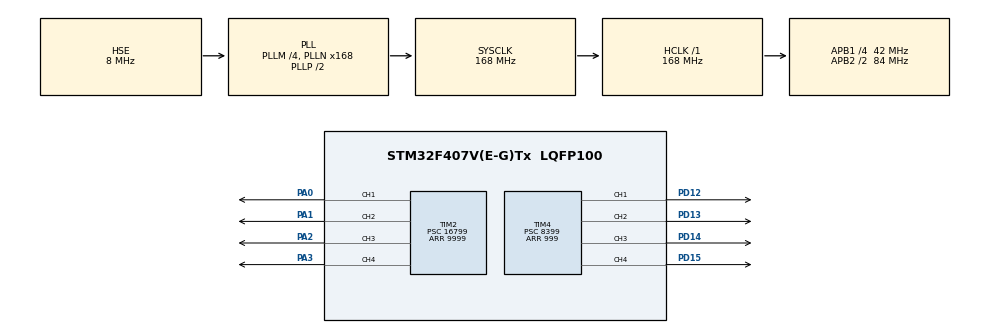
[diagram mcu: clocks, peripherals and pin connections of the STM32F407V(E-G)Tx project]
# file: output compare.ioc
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Mcu.Family=STM32F4
Mcu.Name=STM32F407V(E-G)Tx
Mcu.Package=LQFP100
NVIC.PriorityGroup=NVIC_PRIORITYGROUP_0
NVIC.TIM2_IRQn=true\:0\:0\:false\:false\:true\:true\:true\:true
PA0-WKUP.Signal=S_TIM2_CH1_ETR
PA1.Signal=S_TIM2_CH2
PA13.Mode=Serial_Wire
PA13.Signal=SYS_JTMS-SWDIO
PA14.Mode=Serial_Wire
PA14.Signal=SYS_JTCK-SWCLK
PA2.Signal=S_TIM2_CH3
PA3.Signal=S_TIM2_CH4
PD12.Signal=S_TIM4_CH1
PD13.Signal=S_TIM4_CH2
PD14.Signal=S_TIM4_CH3
PD15.Signal=S_TIM4_CH4
PH0-OSC_IN.Mode=HSE-External-Oscillator
PH0-OSC_IN.Signal=RCC_OSC_IN
PH1-OSC_OUT.Mode=HSE-External-Oscillator
PH1-OSC_OUT.Signal=RCC_OSC_OUT
ProjectManager.HeapSize=0x200
ProjectManager.StackSize=0x400
ProjectManager.TargetToolchain=STM32CubeIDE
RCC.48MHZClocksFreq_Value=48000000
RCC.AHBFreq_Value=168000000
RCC.APB1CLKDivider=RCC_HCLK_DIV4
RCC.APB1Freq_Value=42000000
RCC.APB1TimFreq_Value=84000000
RCC.APB2CLKDivider=RCC_HCLK_DIV2
RCC.APB2Freq_Value=84000000
RCC.APB2TimFreq_Value=168000000
RCC.CortexFreq_Value=168000000
RCC.HCLKFreq_Value=168000000
RCC.HSE_VALUE=8000000
RCC.HSI_VALUE=16000000
RCC.LSE_VALUE=32768
RCC.PLLM=4
RCC.PLLN=168
RCC.PLLQ=7
RCC.PLLSourceVirtual=RCC_PLLSOURCE_HSE
RCC.SYSCLKFreq_VALUE=168000000
RCC.SYSCLKSource=RCC_SYSCLKSOURCE_PLLCLK
RCC.VCOOutputFreq_Value=336000000
SH.S_TIM2_CH1_ETR.0=TIM2_CH1,Output Compare1 CH1
SH.S_TIM2_CH2.0=TIM2_CH2,Output Compare2 CH2
SH.S_TIM2_CH3.0=TIM2_CH3,Output Compare3 CH3
SH.S_TIM2_CH4.0=TIM2_CH4,Output Compare4 CH4
SH.S_TIM4_CH1.0=TIM4_CH1,Output Compare1 CH1
SH.S_TIM4_CH2.0=TIM4_CH2,Output Compare2 CH2
SH.S_TIM4_CH3.0=TIM4_CH3,Output Compare3 CH3
SH.S_TIM4_CH4.0=TIM4_CH4,Output Compare4 CH4
TIM2.Channel-Output\ Compare1\ CH1=TIM_CHANNEL_1
TIM2.Channel-Output\ Compare2\ CH2=TIM_CHANNEL_2
TIM2.Channel-Output\ Compare3\ CH3=TIM_CHANNEL_3
TIM2.Channel-Output\ Compare4\ CH4=TIM_CHANNEL_4
TIM2.OCMode_1=TIM_OCMODE_TOGGLE
TIM2.OCMode_2=TIM_OCMODE_TOGGLE
TIM2.OCMode_3=TIM_OCMODE_TOGGLE
TIM2.OCMode_4=TIM_OCMODE_TOGGLE
TIM2.Period=9999
TIM2.Prescaler=16799
TIM2.Pulse-Output\ Compare1\ CH1=2500
TIM2.Pulse-Output\ Compare2\ CH2=5000
TIM2.Pulse-Output\ Compare3\ CH3=7500
TIM2.Pulse-Output\ Compare4\ CH4=9999
TIM4.Channel-Output\ Compare1\ CH1=TIM_CHANNEL_1
TIM4.Channel-Output\ Compare2\ CH2=TIM_CHANNEL_2
TIM4.Channel-Output\ Compare3\ CH3=TIM_CHANNEL_3
TIM4.Channel-Output\ Compare4\ CH4=TIM_CHANNEL_4
TIM4.OCMode_1=TIM_OCMODE_TOGGLE
TIM4.OCMode_2=TIM_OCMODE_TOGGLE
TIM4.OCMode_3=TIM_OCMODE_TOGGLE
TIM4.OCMode_4=TIM_OCMODE_TOGGLE
TIM4.Period=999
TIM4.Prescaler=8399
TIM4.Pulse-Output\ Compare1\ CH1=249
TIM4.Pulse-Output\ Compare2\ CH2=499
TIM4.Pulse-Output\ Compare3\ CH3=749
TIM4.Pulse-Output\ Compare4\ CH4=999
VP_TIM2_VS_ClockSourceINT.Mode=Internal
VP_TIM4_VS_ClockSourceINT.Mode=Internal
board=STM32F407G-DISC1

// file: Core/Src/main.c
/* USER CODE BEGIN Header */
/**
  ******************************************************************************
  * @file           : main.c
  * @brief          : Main program body
  ******************************************************************************
  * @attention
  *
  * Copyright (c) 2024 STMicroelectronics.
  * All rights reserved.
  *
  * This software is licensed under terms that can be found in the LICENSE file
  * in the root directory of this software component.
  * If no LICENSE file comes with this software, it is provided AS-IS.
  *
  ******************************************************************************
  */
/* USER CODE END Header */
#include "main.h"
#include "tim.h"
#include "gpio.h"

void SystemClock_Config(void);

/* USER CODE BEGIN 0 */
uint32_t ccr_content;
uint32_t ch1_pulse = 250-1; // millis
uint32_t ch2_pulse = 500-1;
uint32_t ch3_pulse = 750-1;
uint32_t ch4_pulse = 1000-1;
/* USER CODE END 0 */

int main(void)
{

  /* MCU Configuration--------------------------------------------------------*/

  /* Reset of all peripherals, Initializes the Flash interface and the Systick. */
  HAL_Init();

  /* Configure the system clock */
  SystemClock_Config();

  /* Initialize all configured peripherals */
  MX_GPIO_Init();
  MX_TIM2_Init();
  MX_TIM4_Init();
  /* USER CODE BEGIN 2 */
	if( HAL_TIM_OC_Start_IT(&htim2,TIM_CHANNEL_1) != HAL_OK) { Error_Handler(); }
	if( HAL_TIM_OC_Start_IT(&htim2,TIM_CHANNEL_2) != HAL_OK) { Error_Handler(); }
	if( HAL_TIM_OC_Start_IT(&htim2,TIM_CHANNEL_3) != HAL_OK) { Error_Handler(); }
	if( HAL_TIM_OC_Start_IT(&htim2,TIM_CHANNEL_4) != HAL_OK) { Error_Handler(); }
  /* USER CODE END 2 */

  /* Infinite loop */
  while (1)
  {

  }
}

void SystemClock_Config(void)
{
  RCC_OscInitTypeDef RCC_OscInitStruct = {0};
  RCC_ClkInitTypeDef RCC_ClkInitStruct = {0};

  /** Configure the main internal regulator output voltage
  */
  __HAL_RCC_PWR_CLK_ENABLE();
  __HAL_PWR_VOLTAGESCALING_CONFIG(PWR_REGULATOR_VOLTAGE_SCALE1);

  /** Initializes the RCC Oscillators according to the specified parameters
  * in the RCC_OscInitTypeDef structure.
  */
  RCC_OscInitStruct.OscillatorType = RCC_OSCILLATORTYPE_HSE;
  RCC_OscInitStruct.HSEState = RCC_HSE_ON;
  RCC_OscInitStruct.PLL.PLLState = RCC_PLL_ON;
  RCC_OscInitStruct.PLL.PLLSource = RCC_PLLSOURCE_HSE;
  RCC_OscInitStruct.PLL.PLLM = 4;
  RCC_OscInitStruct.PLL.PLLN = 168;
  RCC_OscInitStruct.PLL.PLLP = RCC_PLLP_DIV2;
  RCC_OscInitStruct.PLL.PLLQ = 7;
  if (HAL_RCC_OscConfig(&RCC_OscInitStruct) != HAL_OK)
  {
    Error_Handler();
  }

  /** Initializes the CPU, AHB and APB buses clocks
  */
  RCC_ClkInitStruct.ClockType = RCC_CLOCKTYPE_HCLK|RCC_CLOCKTYPE_SYSCLK
                              |RCC_CLOCKTYPE_PCLK1|RCC_CLOCKTYPE_PCLK2;
  RCC_ClkInitStruct.SYSCLKSource = RCC_SYSCLKSOURCE_PLLCLK;
  RCC_ClkInitStruct.AHBCLKDivider = RCC_SYSCLK_DIV1;
  RCC_ClkInitStruct.APB1CLKDivider = RCC_HCLK_DIV4;
  RCC_ClkInitStruct.APB2CLKDivider = RCC_HCLK_DIV2;

  if (HAL_RCC_ClockConfig(&RCC_ClkInitStruct, FLASH_LATENCY_5) != HAL_OK)
  {
    Error_Handler();
  }
}

/* USER CODE BEGIN 4 */

void HAL_TIM_OC_DelayElapsedCallback(TIM_HandleTypeDef *htim)
{
	if(htim->Channel == HAL_TIM_ACTIVE_CHANNEL_1)
	{
		ccr_content = HAL_TIM_ReadCapturedValue(htim, TIM_CHANNEL_1);
		__HAL_TIM_SET_COMPARE(htim, TIM_CHANNEL_1, ccr_content+ch1_pulse);
	}
	if(htim->Channel == HAL_TIM_ACTIVE_CHANNEL_2)
	{
		ccr_content = HAL_TIM_ReadCapturedValue(htim, TIM_CHANNEL_2);
		__HAL_TIM_SET_COMPARE(htim, TIM_CHANNEL_2, ccr_content+ch2_pulse);
	}
	if(htim->Channel == HAL_TIM_ACTIVE_CHANNEL_3)
	{
		ccr_content = HAL_TIM_ReadCapturedValue(htim, TIM_CHANNEL_3);
		__HAL_TIM_SET_COMPARE(htim, TIM_CHANNEL_3, ccr_content+ch3_pulse);
	}
	if(htim->Channel == HAL_TIM_ACTIVE_CHANNEL_4)
	{
		ccr_content = HAL_TIM_ReadCapturedValue(htim, TIM_CHANNEL_4);
		__HAL_TIM_SET_COMPARE(htim, TIM_CHANNEL_4, ccr_content+ch4_pulse);
	}
  //UNUSED(htim);
}
/* USER CODE END 4 */

void Error_Handler(void)
{
  __disable_irq();
  while (1)
  {
  }
}
